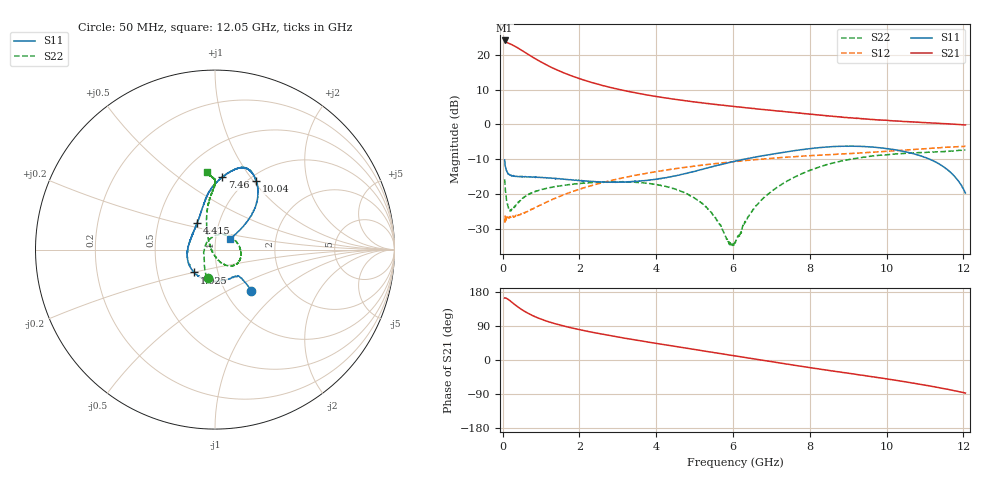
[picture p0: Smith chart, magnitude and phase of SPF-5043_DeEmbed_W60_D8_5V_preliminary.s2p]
! ASPAR, V1.5 8/31/04
! Network Analyzer Model: HP8753
! startf = 50.000 MHz, stopf = 12050.000 MHz, npoints = 1601
! averaging off
! IFBW = 1.000 kHz
! Sweep Time = 3.000 seconds
! Bias1: Not Used
! Bias2: Not Used
! Operator:
! Comments1: Vcc=5V.
! Comments2: DeEmbedded to edges of device leads.
! Comments3: Preliminary.
!  S11  S21  S12  S22
# MHZ  S  DB R  50
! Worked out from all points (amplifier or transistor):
!   1601 points, 50 MHz to 12.05 GHz, reference 50 ohm
!   highest |S21| = 24.1 dB at 50 MHz (marker M1)
!   |S21| within 3 dB of that: start of sweep to 520.6 MHz
!   unconditionally stable (mu >= 1): 69.44 MHz to end of sweep
!   at 2.045 GHz: K = 1.16, MAG = 13.3 dB, |S12| = -18.5 dB
!   at 6.05 GHz: K = 1.13, MAG = 5.7 dB, |S12| = -10.7 dB
!   at 12.05 GHz: K = 1.07, MAG = 1.4 dB, |S12| = -6.3 dB
!   S11 on the Smith chart (normalised r, x): 50 MHz: 1.31, -0.68; 1.025 GHz: 0.77, -0.20; 4.415 GHz: 0.79, +0.24; 7.46 GHz: 0.77, +0.75; 10.04 GHz: 1.09, +1.03; 12.05 GHz: 1.17, +0.14
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50  -10.20 -49.0  24.09 163.6  -27.55 20.9  -15.79 -104.6
125  -13.92 -47.8  23.44 161.3  -26.92 12.4  -22.85 -155.1
342.5  -14.96 -71.5  22.26 144.1  -26.20 20.1  -23.32 109.3
485  -14.97 -88.3  21.35 133.8  -25.70 26.1  -21.69 81.5
612.5  -15.09 -101.7  20.47 126.0  -25.22 31.0  -20.57 65.2
732.5  -15.12 -112.3  19.63 119.5  -24.51 34.1  -19.87 53.3
867.5  -15.14 -122.7  18.73 113.3  -23.82 37.8  -19.21 44.8
1025  -15.25 -132.6  17.76 106.9  -22.99 40.8  -18.69 34.6
1250  -15.44 -144.4  16.46 99.3  -21.82 43.2  -18.16 24.3
1460  -15.63 -153.3  15.41 93.0  -20.79 44.7  -17.75 16.3
2052.5  -16.12 -174.5  12.94 79.1  -18.48 44.7  -16.97 -0.9
2915  -16.61 159.5  10.32 62.3  -15.91 40.5  -16.48 -19.9
4055  -15.68 131.9  7.88 43.0  -13.49 31.3  -17.43 -41.5
4415  -14.97 123.9  7.30 37.2  -12.89 28.0  -18.39 -48.8
6050  -10.61 99.3  5.07 10.9  -10.69 11.4  -33.81 -179.3
6620  -9.32 93.3  4.42 1.9  -10.11 5.1  -23.20 122.0
7460  -7.79 84.2  3.54 -11.5  -9.40 -4.8  -16.01 107.0
8052.5  -6.91 77.5  2.88 -20.9  -8.96 -12.0  -13.02 101.2
10040  -7.04 58.9  1.13 -50.5  -7.72 -36.4  -8.70 90.2
10055  -7.03 58.7  1.10 -51.0  -7.73 -36.4  -8.70 90.2
11330  -11.15 43.3  0.31 -72.3  -6.76 -56.2  -7.89 92.2
12050  -19.75 35.8  -0.18 -87.2  -6.33 -70.6  -7.29 96.1
